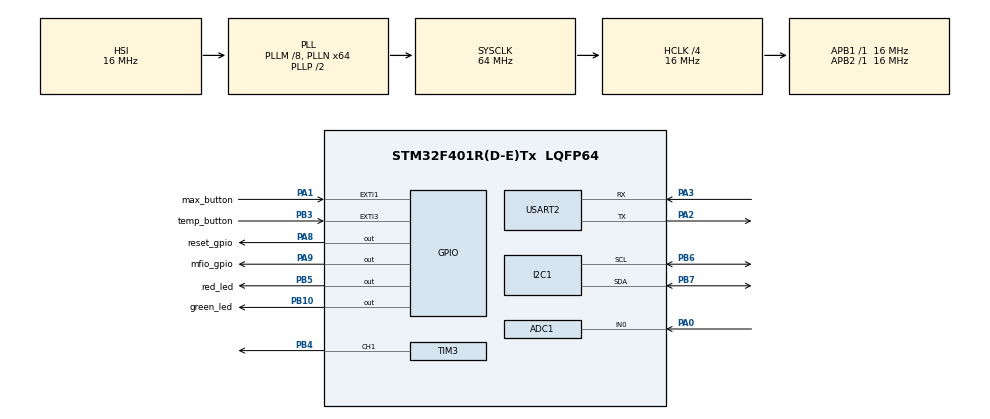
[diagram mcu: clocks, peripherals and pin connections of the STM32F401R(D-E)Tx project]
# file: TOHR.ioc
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ADC1.Channel-0\#ChannelRegularConversion=ADC_CHANNEL_0
ADC1.DMAContinuousRequests=ENABLE
ADC1.EOCSelection=ADC_EOC_SEQ_CONV
ADC1.ExternalTrigConv=ADC_EXTERNALTRIGCONV_T2_TRGO
ADC1.NbrOfConversionFlag=1
ADC1.Rank-0\#ChannelRegularConversion=1
ADC1.SamplingTime-0\#ChannelRegularConversion=ADC_SAMPLETIME_3CYCLES
ADC1.master=1
Dma.ADC1.0.Direction=DMA_PERIPH_TO_MEMORY
Dma.ADC1.0.FIFOMode=DMA_FIFOMODE_DISABLE
Dma.ADC1.0.Instance=DMA2_Stream0
Dma.ADC1.0.MemDataAlignment=DMA_MDATAALIGN_HALFWORD
Dma.ADC1.0.MemInc=DMA_MINC_ENABLE
Dma.ADC1.0.Mode=DMA_CIRCULAR
Dma.ADC1.0.PeriphDataAlignment=DMA_PDATAALIGN_HALFWORD
Dma.ADC1.0.PeriphInc=DMA_PINC_DISABLE
Dma.ADC1.0.Priority=DMA_PRIORITY_LOW
Dma.Request0=ADC1
Mcu.Family=STM32F4
Mcu.Name=STM32F401R(D-E)Tx
Mcu.Package=LQFP64
NVIC.ADC_IRQn=true\:0\:0\:false\:false\:true\:true\:true\:true
NVIC.DMA2_Stream0_IRQn=true\:0\:0\:false\:false\:true\:false\:true\:true
NVIC.EXTI1_IRQn=true\:0\:0\:false\:false\:true\:true\:true\:true
NVIC.EXTI3_IRQn=true\:0\:0\:false\:false\:true\:true\:true\:true
NVIC.PriorityGroup=NVIC_PRIORITYGROUP_0
NVIC.TIM1_TRG_COM_TIM11_IRQn=true\:0\:0\:false\:false\:true\:true\:true\:true
NVIC.TIM1_UP_TIM10_IRQn=true\:0\:0\:false\:false\:true\:true\:true\:true
PA0-WKUP.Signal=ADCx_IN0
PA1.GPIO_Label=max_button
PA1.Signal=GPXTI1
PA2.Mode=Asynchronous
PA2.Signal=USART2_TX
PA3.Mode=Asynchronous
PA3.Signal=USART2_RX
PA8.GPIO_Label=reset_gpio
PA8.GPIO_PuPd=GPIO_NOPULL
PA8.Signal=GPIO_Output
PA9.GPIO_Label=mfio_gpio
PA9.Signal=GPIO_Output
PB10.GPIO_Label=green_led
PB10.Signal=GPIO_Output
PB3.GPIO_Label=temp_button
PB3.Signal=GPXTI3
PB4.Signal=S_TIM3_CH1
PB5.GPIO_Label=red_led
PB5.Signal=GPIO_Output
PB6.Mode=I2C
PB6.Signal=I2C1_SCL
PB7.Mode=I2C
PB7.Signal=I2C1_SDA
ProjectManager.HeapSize=0x200
ProjectManager.StackSize=0x400
ProjectManager.TargetToolchain=STM32CubeIDE
RCC.48MHZClocksFreq_Value=18285714.285714287
RCC.AHBCLKDivider=RCC_SYSCLK_DIV4
RCC.AHBFreq_Value=16000000
RCC.APB1Freq_Value=16000000
RCC.APB1TimFreq_Value=16000000
RCC.APB2Freq_Value=16000000
RCC.APB2TimFreq_Value=16000000
RCC.CortexFreq_Value=16000000
RCC.HCLKFreq_Value=16000000
RCC.HSE_VALUE=8000000
RCC.HSI_VALUE=16000000
RCC.LSE_VALUE=32768
RCC.PLLM=8
RCC.PLLN=64
RCC.PLLQ=7
RCC.SYSCLKFreq_VALUE=64000000
RCC.SYSCLKSource=RCC_SYSCLKSOURCE_PLLCLK
RCC.VCOOutputFreq_Value=128000000
SH.ADCx_IN0.0=ADC1_IN0,IN0
SH.S_TIM3_CH1.0=TIM3_CH1,PWM Generation1 CH1
TIM10.Period=14985
TIM10.Prescaler=15999
TIM11.Period=999
TIM11.Prescaler=159
TIM2.Period=1999
TIM2.Prescaler=41999
TIM2.TIM_MasterOutputTrigger=TIM_TRGO_UPDATE
TIM2.TIM_MasterSlaveMode=TIM_MASTERSLAVEMODE_ENABLE
TIM3.Channel-PWM\ Generation1\ CH1=TIM_CHANNEL_1
TIM3.Period=999
TIM3.Prescaler=319
TIM3.Pulse-PWM\ Generation1\ CH1=499
USART2.VirtualMode=VM_ASYNC
VP_TIM10_VS_ClockSourceINT.Mode=Enable_Timer
VP_TIM11_VS_ClockSourceINT.Mode=Enable_Timer
VP_TIM2_VS_ClockSourceINT.Mode=Internal
VP_TIM3_VS_ClockSourceINT.Mode=Internal
board=NUCLEO-F401RE

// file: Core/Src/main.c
/* USER CODE BEGIN Header */
/**
  ******************************************************************************
  * @file           : main.c
  * @brief          : Main program body
  ******************************************************************************
  * @attention
  *
  * Copyright (c) 2023 STMicroelectronics.
  * All rights reserved.
  *
  * This software is licensed under terms that can be found in the LICENSE file
  * in the root directory of this software component.
  * If no LICENSE file comes with this software, it is provided AS-IS.
  *
  ******************************************************************************
  */
/* USER CODE END Header */
#include "main.h"
#include "adc.h"
#include "dma.h"
#include "i2c.h"
#include "tim.h"
#include "usart.h"
#include "gpio.h"

/* USER CODE BEGIN Includes */
#include "stdio.h"
#include "string.h"
#include "math.h"
#include "ds1307rtc.h"
#include "ssd1306.h"
#include "ssd1306_fonts.h"
#include "max32664.h"
#include "max_lib.h"
#include "temp_lib.h"
#include "rtc_lib.h"

/* USER CODE END Includes */

void SystemClock_Config(void);

/* USER CODE BEGIN 0 */

/******************************* FLAGS *******************************/
int steinharthart_flag = 0;
int max_flag = 0;
int temp_flag = 0;
int monitoring_flag = 0;
int time_elapsed_flag = 0;
int breathe_flag = 0;
uint8_t pwm_status_flag = 1;
/******************************* FLAGS *******************************/

/******************************* UTILITY VARS *******************************/
int count = 0;
int temp_status = 0;
int hr_status = 0;
int ox_status = 0;
uint16_t pulse = 0;
/******************************* UTILITY VARS *******************************/

/* USER CODE END 0 */

int main(void)
{

  /* MCU Configuration--------------------------------------------------------*/

  /* Reset of all peripherals, Initializes the Flash interface and the Systick. */
  HAL_Init();

  /* Configure the system clock */
  SystemClock_Config();

  /* Initialize all configured peripherals */
  MX_GPIO_Init();
  MX_DMA_Init();
  MX_USART2_UART_Init();
  MX_ADC1_Init();
  MX_TIM2_Init();
  MX_I2C1_Init();
  MX_TIM10_Init();
  MX_TIM3_Init();
  MX_TIM11_Init();
  /* USER CODE BEGIN 2 */

  /******************************* INIT *******************************/
  ssd1306_Init();
  ds1307rtc_init();
  max_init();
  HAL_TIM_Base_Start(&htim2);
  temp_init();
  //set_clock(); executed one time to configure the clock
  /******************************* INIT *******************************/

  /* USER CODE END 2 */
  /* Infinite loop */
  /* USER CODE BEGIN WHILE */
  while (1)
  {
	  if(steinharthart_flag == 1){
		  ssd1306_Clear();
		  get_max();
		  get_clock();
		  get_temp();
		  print_time();
		  print_max();
		  print_temp();
		  steinharthart_flag = 0;
	  }

	  if(max_flag == 1){
		  HAL_TIM_Base_Stop(&htim2);
		if(monitoring_flag == 0 && time_elapsed_flag == 0){
			max_setup();
			HAL_TIM_Base_Start_IT(&htim10);
			monitoring_flag = 1;
		}
		else if (monitoring_flag == 1 && time_elapsed_flag == 0){
			max_loop();
		}
		else if (time_elapsed_flag == 1){
			HAL_TIM_Base_Stop_IT(&htim10);
			HAL_TIM_Base_Start(&htim2);
			hr_status = hr_analysis();
			print_hr_status(hr_status);
			ox_status = ox_analysis();
			print_ox_status(ox_status);

			if(hr_status == 1 || ox_status == 1){
				print_breathe();
				HAL_TIM_Base_Stop(&htim2);
				time_elapsed_flag = 0;
				breathe_flag = 1;
				HAL_TIM_Base_Start_IT(&htim10);
				HAL_TIM_Base_Start_IT(&htim11);
				HAL_TIM_PWM_Start(&htim3, TIM_CHANNEL_1);
				max_flag = 0;
			}
			if(hr_status == 2 || ox_status == 2){
				max_flag = 1;
				monitoring_flag = 0;
				time_elapsed_flag = 0;
			}
			else{
				max_flag = 0;
			}
		}
	  }

	  if(temp_flag == 1) {

		  if(monitoring_flag == 0 && time_elapsed_flag == 0){
			  temp_setup();
			  HAL_TIM_Base_Start_IT(&htim10);
			  monitoring_flag = 1;
		  }
		  else if (monitoring_flag == 1 && time_elapsed_flag == 0){
			  temp_loop();
		  }
		  else if (time_elapsed_flag == 1){
			  HAL_TIM_Base_Stop_IT(&htim10);
			  temp_status = temp_analysis();
			  print_temp_status(temp_status);
			  if(temp_status == 2){
					monitoring_flag = 0;
					time_elapsed_flag = 0;
					temp_flag = 1;
			  }
			  else{
					temp_flag = 0;
			  }
		  }
	  }
	  if(breathe_flag == 1){
		  if(time_elapsed_flag == 1){
				HAL_TIM_Base_Stop_IT(&htim10);
				HAL_TIM_Base_Stop_IT(&htim11);
				HAL_TIM_PWM_Stop(&htim3, TIM_CHANNEL_1);
				max_flag = 1;
				monitoring_flag = 0;
				time_elapsed_flag = 0;
				breathe_flag = 0;
				HAL_TIM_Base_Start(&htim2);
		  }
	  }
  }
    /* USER CODE END WHILE */

}

void SystemClock_Config(void)
{
  RCC_OscInitTypeDef RCC_OscInitStruct = {0};
  RCC_ClkInitTypeDef RCC_ClkInitStruct = {0};

  /** Configure the main internal regulator output voltage
  */
  __HAL_RCC_PWR_CLK_ENABLE();
  __HAL_PWR_VOLTAGESCALING_CONFIG(PWR_REGULATOR_VOLTAGE_SCALE2);

  /** Initializes the RCC Oscillators according to the specified parameters
  * in the RCC_OscInitTypeDef structure.
  */
  RCC_OscInitStruct.OscillatorType = RCC_OSCILLATORTYPE_HSI;
  RCC_OscInitStruct.HSIState = RCC_HSI_ON;
  RCC_OscInitStruct.HSICalibrationValue = RCC_HSICALIBRATION_DEFAULT;
  RCC_OscInitStruct.PLL.PLLState = RCC_PLL_ON;
  RCC_OscInitStruct.PLL.PLLSource = RCC_PLLSOURCE_HSI;
  RCC_OscInitStruct.PLL.PLLM = 8;
  RCC_OscInitStruct.PLL.PLLN = 64;
  RCC_OscInitStruct.PLL.PLLP = RCC_PLLP_DIV2;
  RCC_OscInitStruct.PLL.PLLQ = 7;
  if (HAL_RCC_OscConfig(&RCC_OscInitStruct) != HAL_OK)
  {
    Error_Handler();
  }

  /** Initializes the CPU, AHB and APB buses clocks
  */
  RCC_ClkInitStruct.ClockType = RCC_CLOCKTYPE_HCLK|RCC_CLOCKTYPE_SYSCLK
                              |RCC_CLOCKTYPE_PCLK1|RCC_CLOCKTYPE_PCLK2;
  RCC_ClkInitStruct.SYSCLKSource = RCC_SYSCLKSOURCE_PLLCLK;
  RCC_ClkInitStruct.AHBCLKDivider = RCC_SYSCLK_DIV4;
  RCC_ClkInitStruct.APB1CLKDivider = RCC_HCLK_DIV1;
  RCC_ClkInitStruct.APB2CLKDivider = RCC_HCLK_DIV1;

  if (HAL_RCC_ClockConfig(&RCC_ClkInitStruct, FLASH_LATENCY_0) != HAL_OK)
  {
    Error_Handler();
  }
}

/* USER CODE BEGIN 4 */

/******************************* CONVERSION DONE ISR *******************************/
void HAL_ADC_ConvCpltCallback(ADC_HandleTypeDef* hadc){
		if(!max_flag && !temp_flag)
			steinharthart_flag = 1;
}
/******************************* CONVERSION DONE ISR *******************************/

/******************************* BUTTON ISR *******************************/
void HAL_GPIO_EXTI_Callback(uint16_t GPIO_Pin){
    if(GPIO_Pin == max_button_Pin){
		steinharthart_flag = 0;
		temp_flag = 0;
		max_flag = 1;
		time_elapsed_flag = 0;
		monitoring_flag = 0;
	  }
    if(GPIO_Pin == temp_button_Pin){
		steinharthart_flag = 0;
		temp_flag = 1;
		max_flag = 0;
		time_elapsed_flag = 0;
		monitoring_flag = 0;
    }
}
/******************************* BUTTON ISR *******************************/

/******************************* TIMER ELAPSED ISR *******************************/
void HAL_TIM_PeriodElapsedCallback(TIM_HandleTypeDef* htim){
	if(htim == &htim10){
		if(count == 1){
			time_elapsed_flag = 1;
			count = 0;
		}
		else{
			count = 1;
		}
	}
	if(htim == &htim11){
		if (pwm_status_flag == 1){
			pulse = (pulse + 4);
		}else{
			pulse = (pulse - 2);
		}
		__HAL_TIM_SET_COMPARE(&htim3, TIM_CHANNEL_1, pulse);
		if ( (pulse <= 0) || (pulse >= 1000))
			pwm_status_flag = !pwm_status_flag;
	}
}
/******************************* TIMER ELAPSED ISR *******************************/

/* USER CODE END 4 */

void Error_Handler(void)
{
  __disable_irq();
  while (1)
  {
  }
}
